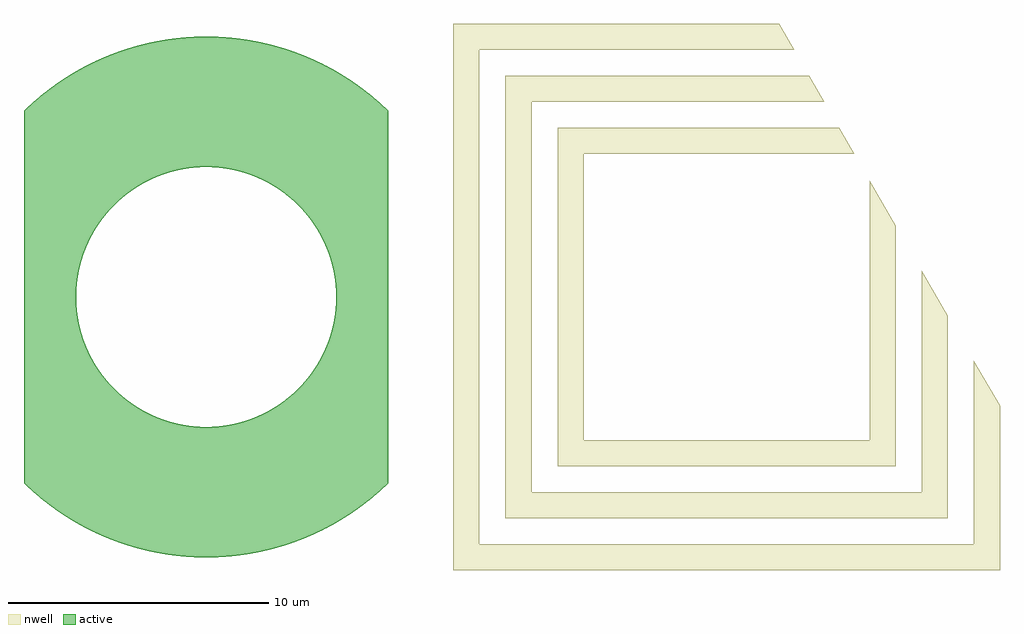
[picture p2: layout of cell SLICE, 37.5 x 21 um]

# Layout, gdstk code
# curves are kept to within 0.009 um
import gdstk
lib = gdstk.Library(unit=1e-6, precision=1e-09)
def P(c, l, *ps):  # polygons
    for p in ps: c.add(gdstk.Polygon(p, *l))
active = (1, 0)
nwell = (2, 0)

slice = lib.new_cell('SLICE')
P(slice, active, [(4.976,0.49),(5,0),(7,0),(7,0.689)],
  [(4.904,0.975),(4.976,0.49),(7,0.689),(7,1.392)],
  [(4.785,1.451),(4.904,0.975),(7,1.392),(7,2.123)],
  [(4.619,1.913),(4.785,1.451),(7,2.123),(7,2.899)],
  [(4.41,2.357),(4.619,1.913),(7,2.899),(7,3.742)],
  [(4.157,2.778),(4.41,2.357),(7,3.742),(7,4.677)],
  [(3.865,3.172),(4.157,2.778),(7,4.677),(7,5.745)],
  [(3.536,3.536),(3.865,3.172),(7,5.745),(7,7)],
  [(6.999,7.142),(6.667,7.454),(6.344,7.73),(3.172,3.865),(3.536,3.536),(7,7)],
  [(6.344,7.73),(5.994,8.005),(5.556,8.315),(2.778,4.157),(3.172,3.865)],
  [(5.556,8.315),(5.189,8.549),(4.714,8.819),(2.357,4.41),(2.778,4.157)],
  [(4.714,8.819),(4.308,9.025),(3.827,9.239),(1.913,4.619),(2.357,4.41)],
  [(3.827,9.239),(3.355,9.421),(2.903,9.569),(1.451,4.785),(1.913,4.619)],
  [(2.903,9.569),(2.445,9.697),(1.951,9.808),(0.975,4.904),(1.451,4.785)],
  [(1.951,9.808),(1.462,9.893),(0.98,9.952),(0.49,4.976),(0.975,4.904)],
  [(0.98,9.952),(0.476,9.989),(0,10),(0,5),(0.49,4.976)],
  [(0,10),(-0.476,9.989),(-0.98,9.952),(-0.49,4.976),(0,5)],
  [(-0.98,9.952),(-1.462,9.893),(-1.951,9.808),(-0.975,4.904),(-0.49,4.976)],
  [(-1.951,9.808),(-2.445,9.697),(-2.903,9.569),(-1.451,4.785),(-0.975,4.904)],
  [(-2.903,9.569),(-3.355,9.421),(-3.827,9.239),(-1.913,4.619),(-1.451,4.785)],
  [(-3.827,9.239),(-4.308,9.025),(-4.714,8.819),(-2.357,4.41),(-1.913,4.619)],
  [(-4.714,8.819),(-5.189,8.549),(-5.556,8.315),(-2.778,4.157),(-2.357,4.41)],
  [(-5.556,8.315),(-5.994,8.005),(-6.344,7.73),(-3.172,3.865),(-2.778,4.157)],
  [(-6.344,7.73),(-6.667,7.454),(-7,7.141),(-7,7),(-3.536,3.536),(-3.172,3.865)],
  [(-3.865,3.172),(-3.536,3.536),(-7,7),(-7,5.745)],
  [(-4.157,2.778),(-3.865,3.172),(-7,5.745),(-7,4.677)],
  [(-4.41,2.357),(-4.157,2.778),(-7,4.677),(-7,3.742)],
  [(-4.619,1.913),(-4.41,2.357),(-7,3.742),(-7,2.899)],
  [(-4.785,1.451),(-4.619,1.913),(-7,2.899),(-7,2.123)],
  [(-4.904,0.975),(-4.785,1.451),(-7,2.123),(-7,1.392)],
  [(-4.976,0.49),(-4.904,0.975),(-7,1.392),(-7,0.689)],
  [(-5,0),(-4.976,0.49),(-7,0.689),(-7,0)],
  [(-4.976,-0.49),(-5,0),(-7,0),(-7,-0.689)],
  [(-4.904,-0.975),(-4.976,-0.49),(-7,-0.689),(-7,-1.392)],
  [(-4.785,-1.451),(-4.904,-0.975),(-7,-1.392),(-7,-2.123)],
  [(-4.619,-1.913),(-4.785,-1.451),(-7,-2.123),(-7,-2.899)],
  [(-4.41,-2.357),(-4.619,-1.913),(-7,-2.899),(-7,-3.742)],
  [(-4.157,-2.778),(-4.41,-2.357),(-7,-3.742),(-7,-4.677)],
  [(-3.865,-3.172),(-4.157,-2.778),(-7,-4.677),(-7,-5.745)],
  [(-3.536,-3.536),(-3.865,-3.172),(-7,-5.745),(-7,-7)],
  [(-6.999,-7.142),(-6.667,-7.454),(-6.344,-7.73),(-3.172,-3.865),(-3.536,-3.536),(-7,-7)],
  [(-6.344,-7.73),(-5.994,-8.005),(-5.556,-8.315),(-2.778,-4.157),(-3.172,-3.865)],
  [(-5.556,-8.315),(-5.189,-8.549),(-4.714,-8.819),(-2.357,-4.41),(-2.778,-4.157)],
  [(-4.714,-8.819),(-4.308,-9.025),(-3.827,-9.239),(-1.913,-4.619),(-2.357,-4.41)],
  [(-3.827,-9.239),(-3.355,-9.421),(-2.903,-9.569),(-1.451,-4.785),(-1.913,-4.619)],
  [(-2.903,-9.569),(-2.445,-9.697),(-1.951,-9.808),(-0.975,-4.904),(-1.451,-4.785)],
  [(-1.951,-9.808),(-1.462,-9.893),(-0.98,-9.952),(-0.49,-4.976),(-0.975,-4.904)],
  [(-0.98,-9.952),(-0.476,-9.989),(0,-10),(0,-5),(-0.49,-4.976)],
  [(0,-10),(0.476,-9.989),(0.98,-9.952),(0.49,-4.976),(0,-5)],
  [(0.98,-9.952),(1.462,-9.893),(1.951,-9.808),(0.975,-4.904),(0.49,-4.976)],
  [(1.951,-9.808),(2.445,-9.697),(2.903,-9.569),(1.451,-4.785),(0.975,-4.904)],
  [(2.903,-9.569),(3.355,-9.421),(3.827,-9.239),(1.913,-4.619),(1.451,-4.785)],
  [(3.827,-9.239),(4.308,-9.025),(4.714,-8.819),(2.357,-4.41),(1.913,-4.619)],
  [(4.714,-8.819),(5.189,-8.549),(5.556,-8.315),(2.778,-4.157),(2.357,-4.41)],
  [(5.556,-8.315),(5.994,-8.005),(6.344,-7.73),(3.172,-3.865),(2.778,-4.157)],
  [(6.344,-7.73),(6.667,-7.454),(7,-7.141),(7,-7),(3.536,-3.536),(3.172,-3.865)],
  [(3.865,-3.172),(3.536,-3.536),(7,-7),(7,-5.745)],
  [(4.157,-2.778),(3.865,-3.172),(7,-5.745),(7,-4.677)],
  [(4.41,-2.357),(4.157,-2.778),(7,-4.677),(7,-3.742)],
  [(4.619,-1.913),(4.41,-2.357),(7,-3.742),(7,-2.899)],
  [(4.785,-1.451),(4.619,-1.913),(7,-2.899),(7,-2.123)],
  [(4.904,-0.975),(4.785,-1.451),(7,-2.123),(7,-1.392)],
  [(4.976,-0.49),(4.904,-0.975),(7,-1.392),(7,-0.689)],
  [(5,0),(4.976,-0.49),(7,-0.689),(7,0)])
P(slice, nwell, [(14.5,0),(14.5,5.5),(24.907,5.5),(24.33,6.5),(13.5,6.5),(13.5,0)],
  [(25.5,-5.5),(14.5,-5.5),(14.5,0),(13.5,0),(13.5,-6.5),(26.5,-6.5),(26.5,2.742),(25.5,4.474)],
  [(12.5,0),(12.5,7.5),(23.753,7.5),(23.175,8.5),(11.5,8.5),(11.5,0)],
  [(27.5,-7.5),(12.5,-7.5),(12.5,0),(11.5,0),(11.5,-8.5),(28.5,-8.5),(28.5,-0.722),(27.5,1.01)],
  [(10.5,0),(10.5,9.5),(22.598,9.5),(22.021,10.5),(9.5,10.5),(9.5,0)],
  [(29.5,-9.5),(10.5,-9.5),(10.5,0),(9.5,0),(9.5,-10.5),(30.5,-10.5),(30.5,-4.187),(29.5,-2.454)])

lib.write_gds('SLICE.gds')
